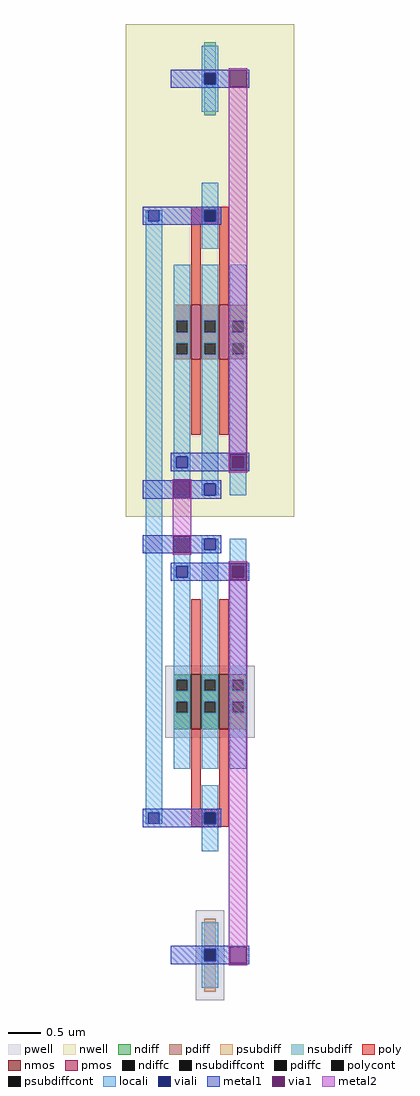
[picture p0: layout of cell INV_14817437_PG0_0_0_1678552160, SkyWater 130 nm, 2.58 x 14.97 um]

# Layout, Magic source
magic
tech sky130A
magscale 1 2
<< locali >>
rect 61 2419 69 2453
rect 103 2419 111 2453
rect 61 605 111 2419
rect 61 571 69 605
rect 103 571 111 605
<< viali >>
rect 69 2419 103 2453
rect 69 571 103 605
<< metal1 >>
rect 52 2453 120 2464
rect 52 2419 69 2453
rect 103 2419 120 2453
rect 52 2408 120 2419
rect 140 1622 204 1624
rect 140 1570 146 1622
rect 198 1570 204 1622
rect 140 1568 204 1570
rect 140 1454 204 1456
rect 140 1402 146 1454
rect 198 1402 204 1454
rect 140 1400 204 1402
rect 52 605 120 616
rect 52 571 69 605
rect 103 571 120 605
rect 52 560 120 571
<< via1 >>
rect 146 1570 198 1622
rect 146 1402 198 1454
<< metal2 >>
rect 144 1622 200 1628
rect 144 1570 146 1622
rect 198 1570 200 1622
rect 144 1454 200 1570
rect 144 1402 146 1454
rect 198 1402 200 1454
rect 144 1396 200 1402
use NMOS_S_25628869_X1_Y1_1678552160_1678552160  NMOS_S_25628869_X1_Y1_1678552160_1678552160_0
transform 1 0 0 0 -1 1512
box 52 56 395 1482
use PMOS_S_36030836_X1_Y1_1678552161_1678552160  PMOS_S_36030836_X1_Y1_1678552161_1678552160_0
transform 1 0 0 0 1 1512
box 0 0 516 1512
<< end >>

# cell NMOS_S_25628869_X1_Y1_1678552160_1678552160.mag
magic
tech sky130A
magscale 1 2
<< pwell >>
rect 215 1206 301 1482
rect 121 457 395 677
<< nmos >>
rect 200 483 230 651
rect 286 483 316 651
<< ndiff >>
rect 147 601 200 651
rect 147 567 155 601
rect 189 567 200 601
rect 147 533 200 567
rect 147 499 155 533
rect 189 499 200 533
rect 147 483 200 499
rect 230 601 286 651
rect 230 567 241 601
rect 275 567 286 601
rect 230 533 286 567
rect 230 499 241 533
rect 275 499 286 533
rect 230 483 286 499
rect 316 601 369 651
rect 316 567 327 601
rect 361 567 369 601
rect 316 533 369 567
rect 316 499 327 533
rect 361 499 369 533
rect 316 483 369 499
<< ndiffc >>
rect 155 567 189 601
rect 155 499 189 533
rect 241 567 275 601
rect 241 499 275 533
rect 327 567 361 601
rect 327 499 361 533
<< psubdiff >>
rect 241 1361 275 1456
rect 241 1232 275 1327
<< psubdiffcont >>
rect 241 1327 275 1361
<< poly >>
rect 200 941 316 951
rect 200 907 241 941
rect 275 907 316 941
rect 200 897 316 907
rect 200 651 230 897
rect 286 651 316 897
rect 200 252 230 483
rect 286 252 316 483
<< polycont >>
rect 241 907 275 941
<< locali >>
rect 233 1361 283 1445
rect 233 1327 241 1361
rect 275 1327 283 1361
rect 233 1243 283 1327
rect 233 941 283 1025
rect 233 907 241 941
rect 275 907 283 941
rect 233 823 283 907
rect 147 601 197 773
rect 147 567 155 601
rect 189 567 197 601
rect 147 533 197 567
rect 147 499 155 533
rect 189 499 197 533
rect 147 185 197 499
rect 147 151 155 185
rect 189 151 197 185
rect 147 67 197 151
rect 233 601 283 773
rect 233 567 241 601
rect 275 567 283 601
rect 233 533 283 567
rect 233 499 241 533
rect 275 499 283 533
rect 233 101 283 499
rect 233 67 241 101
rect 275 67 283 101
rect 319 601 369 773
rect 319 567 327 601
rect 361 567 369 601
rect 319 533 369 567
rect 319 499 327 533
rect 361 499 369 533
rect 319 185 369 499
rect 319 151 327 185
rect 361 151 369 185
rect 319 67 369 151
<< viali >>
rect 241 1327 275 1361
rect 241 907 275 941
rect 155 151 189 185
rect 241 67 275 101
rect 327 151 361 185
<< metal1 >>
rect 138 1370 378 1372
rect 138 1361 318 1370
rect 138 1327 241 1361
rect 275 1327 318 1361
rect 138 1318 318 1327
rect 370 1318 378 1370
rect 138 1316 378 1318
rect 52 941 292 952
rect 52 907 241 941
rect 275 907 292 941
rect 52 896 292 907
rect 138 194 378 196
rect 138 185 318 194
rect 138 151 155 185
rect 189 151 318 185
rect 138 142 318 151
rect 370 142 378 194
rect 138 140 378 142
rect 52 101 292 112
rect 52 67 241 101
rect 275 67 292 101
rect 52 56 292 67
<< via1 >>
rect 318 1318 370 1370
rect 318 185 370 194
rect 318 151 327 185
rect 327 151 361 185
rect 361 151 370 185
rect 318 142 370 151
<< metal2 >>
rect 316 1370 372 1376
rect 316 1318 318 1370
rect 370 1318 372 1370
rect 316 194 372 1318
rect 316 142 318 194
rect 370 142 372 194
rect 316 136 372 142
<< end >>

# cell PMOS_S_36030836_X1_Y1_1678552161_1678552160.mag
magic
tech sky130A
magscale 1 2
<< nwell >>
rect 0 0 516 1512
<< pmos >>
rect 200 483 230 651
rect 286 483 316 651
<< pdiff >>
rect 147 601 200 651
rect 147 567 155 601
rect 189 567 200 601
rect 147 533 200 567
rect 147 499 155 533
rect 189 499 200 533
rect 147 483 200 499
rect 230 601 286 651
rect 230 567 241 601
rect 275 567 286 601
rect 230 533 286 567
rect 230 499 241 533
rect 275 499 286 533
rect 230 483 286 499
rect 316 601 369 651
rect 316 567 327 601
rect 361 567 369 601
rect 316 533 369 567
rect 316 499 327 533
rect 361 499 369 533
rect 316 483 369 499
<< pdiffc >>
rect 155 567 189 601
rect 155 499 189 533
rect 241 567 275 601
rect 241 499 275 533
rect 327 567 361 601
rect 327 499 361 533
<< nsubdiff >>
rect 241 1361 275 1456
rect 241 1232 275 1327
<< nsubdiffcont >>
rect 241 1327 275 1361
<< poly >>
rect 200 941 316 951
rect 200 907 241 941
rect 275 907 316 941
rect 200 897 316 907
rect 200 651 230 897
rect 286 651 316 897
rect 200 252 230 483
rect 286 252 316 483
<< polycont >>
rect 241 907 275 941
<< locali >>
rect 233 1361 283 1445
rect 233 1327 241 1361
rect 275 1327 283 1361
rect 233 1243 283 1327
rect 233 941 283 1025
rect 233 907 241 941
rect 275 907 283 941
rect 233 823 283 907
rect 147 601 197 773
rect 147 567 155 601
rect 189 567 197 601
rect 147 533 197 567
rect 147 499 155 533
rect 189 499 197 533
rect 147 185 197 499
rect 147 151 155 185
rect 189 151 197 185
rect 147 67 197 151
rect 233 601 283 773
rect 233 567 241 601
rect 275 567 283 601
rect 233 533 283 567
rect 233 499 241 533
rect 275 499 283 533
rect 233 101 283 499
rect 233 67 241 101
rect 275 67 283 101
rect 319 601 369 773
rect 319 567 327 601
rect 361 567 369 601
rect 319 533 369 567
rect 319 499 327 533
rect 361 499 369 533
rect 319 185 369 499
rect 319 151 327 185
rect 361 151 369 185
rect 319 67 369 151
<< viali >>
rect 241 1327 275 1361
rect 241 907 275 941
rect 155 151 189 185
rect 241 67 275 101
rect 327 151 361 185
<< metal1 >>
rect 138 1370 378 1372
rect 138 1361 318 1370
rect 138 1327 241 1361
rect 275 1327 318 1361
rect 138 1318 318 1327
rect 370 1318 378 1370
rect 138 1316 378 1318
rect 52 941 292 952
rect 52 907 241 941
rect 275 907 292 941
rect 52 896 292 907
rect 138 194 378 196
rect 138 185 318 194
rect 138 151 155 185
rect 189 151 318 185
rect 138 142 318 151
rect 370 142 378 194
rect 138 140 378 142
rect 52 101 292 112
rect 52 67 241 101
rect 275 67 292 101
rect 52 56 292 67
<< via1 >>
rect 318 1318 370 1370
rect 318 185 370 194
rect 318 151 327 185
rect 327 151 361 185
rect 361 151 370 185
rect 318 142 370 151
<< metal2 >>
rect 316 1370 372 1376
rect 316 1318 318 1370
rect 370 1318 372 1370
rect 316 194 372 1318
rect 316 142 318 194
rect 370 142 372 194
rect 316 136 372 142
<< end >>
